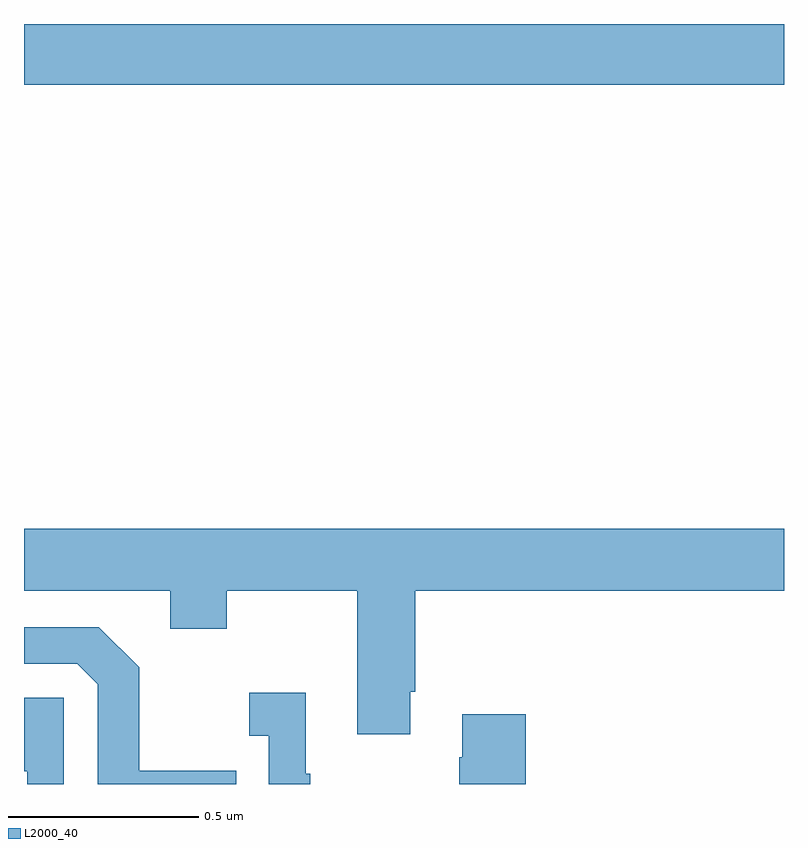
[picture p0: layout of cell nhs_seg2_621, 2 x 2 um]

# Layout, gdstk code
import gdstk
lib = gdstk.Library(unit=1e-6, precision=1e-09)
def R(c, l, rs):  # rectangles x0, y0, x1, y1
    for r in rs: c.add(gdstk.rectangle(r[:2], r[2:], *l))
def P(c, l, *ps):  # polygons
    for p in ps: c.add(gdstk.Polygon(p, *l))
L2000_40 = (2000, 40)

nhs_seg2_621 = lib.new_cell('nhs_seg2_621')
R(nhs_seg2_621, L2000_40, [(118,643.64,120,643.8)])
P(nhs_seg2_621, L2000_40, [(119.017,642.043),(119.03,642.043),(119.03,642.308),(120,642.308),(120,642.472),(118,642.472),(118,642.308),(118.385,642.308),(118.385,642.209),(118.533,642.209),(118.533,642.308),(118.877,642.308),(118.877,641.931),(119.017,641.931)],
  [(118.559,641.835),(118.303,641.835),(118.303,642.107),(118.197,642.213),(118,642.213),(118,642.117),(118.14,642.117),(118.194,642.063),(118.194,641.8),(118.559,641.8)],
  [(118.753,641.827),(118.741,641.827),(118.741,642.04),(118.593,642.04),(118.593,641.927),(118.644,641.927),(118.644,641.8),(118.753,641.8)],
  [(118.104,642.027),(118,642.027),(118,641.834),(118.008,641.834),(118.008,641.8),(118.104,641.8)],
  [(119.321,641.983),(119.153,641.983),(119.153,641.87),(119.146,641.87),(119.146,641.8),(119.321,641.8)])

lib.write_gds('nhs_seg2_621.gds')
